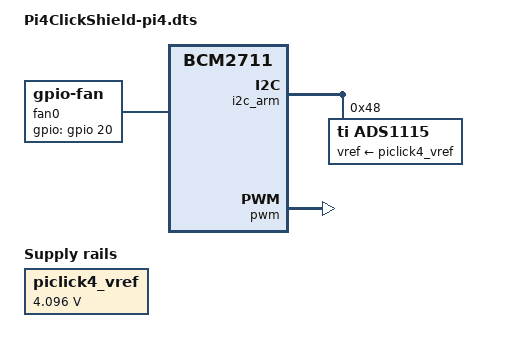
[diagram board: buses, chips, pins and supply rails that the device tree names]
/* Device tree overlay for the Mikroelektronika Pi 4 Click Shield (MIKROE-4122). */

/dts-v1/;
/plugin/;

/ {
	compatible = "brcm,bcm2711";

	// Create a fictitious voltage regulator for the ADS1115 reference

	fragment@0 {
		target-path = "/";
		__overlay__ {
			piclick4_vref: piclick4-vref {
				compatible = "regulator-fixed";
				regulator-name = "piclick4_ads1115";
				regulator-min-microvolt = <4096000>;
				regulator-max-microvolt = <4096000>;
				regulator-always-on;
				status = "okay";
 			};
		};
	};

	/* Enable ADS1115 A/D Converter, 0.000 to 4.096 V full scale, 0.125 uV per step */

	fragment@1 {
		target = <&ads1115>;
		__overlay__ {
			#address-cells = <1>;
			#size-cells = <0>;

			channel_a: channel_a {
				reg = <4>;
				ti,gain = <1>;
				ti,datarate = <7>;
			};
		};
	};

	fragment@2 {
		target = <&ads1115>;
		__overlay__ {
			#address-cells = <1>;
			#size-cells = <0>;

			channel_b: channel_b {
				reg = <5>;
				ti,gain = <1>;
				ti,datarate = <7>;
			};
		};
	};

	fragment@3 {
		target = <&ads1115>;
		__overlay__ {
			#address-cells = <1>;
			#size-cells = <0>;

			channel_c: channel_c {
				reg = <6>;
				ti,gain = <1>;
				ti,datarate = <7>;
			};
		};
	};

	fragment@4 {
		target = <&ads1115>;
		__dormant__ {
			#address-cells = <1>;
			#size-cells = <0>;

			channel_d: channel_d {
				reg = <7>;
				ti,gain = <3>;
				ti,datarate = <7>;
			};
		};
	};

	fragment@5 {
		target = <&i2c_arm>;
		__overlay__ {
			#address-cells = <1>;
			#size-cells = <0>;
			status = "okay";

			ads1115: ads1115@48 {
				compatible = "ti,ads1115";
				status = "okay";
				#address-cells = <1>;
				#size-cells = <0>;
				reg = <0x48>;
				vref-supply = <&piclick4_vref>;
			};
		};
	};

	/* Enable pwmchip0 but don't claim any GPIO pins */

	fragment@6 {
		target = <&pwm>;
		__overlay__ {
			assigned-clock-rates = <100000000>;
			status = "okay";
		};
	};

        /* Enable GPIO20 fan control */

	fragment@7 {
		target-path = "/";
		__overlay__ {
			fan0: gpio-fan@0 {
				compatible = "gpio-fan";
				gpios = <&gpio 20 0>;
				gpio-fan,speed-map = <0    0>, <5000 1>;
				#cooling-cells = <2>;
			};
		};
	};

	fragment@8 {
		target = <&cpu_thermal>;
		__overlay__ {
			polling-delay = <2000>;	/* milliseconds */
		};
	};

	fragment@9 {
		target = <&thermal_trips>;
		__overlay__ {
			cpu_hot: trip-point@0 {
				temperature = <52000>;	/* (millicelsius) Fan started at 52°C */
				hysteresis = <5000>;	/* (millicelsius) Fan stopped at 47°C */
				type = "active";
			};
		};
	};

	fragment@10 {
		target = <&cooling_maps>;
		__overlay__ {
			map0 {
				trip = <&cpu_hot>;
				cooling-device = <&fan0 1 1>;
			};
		};
	};
};
